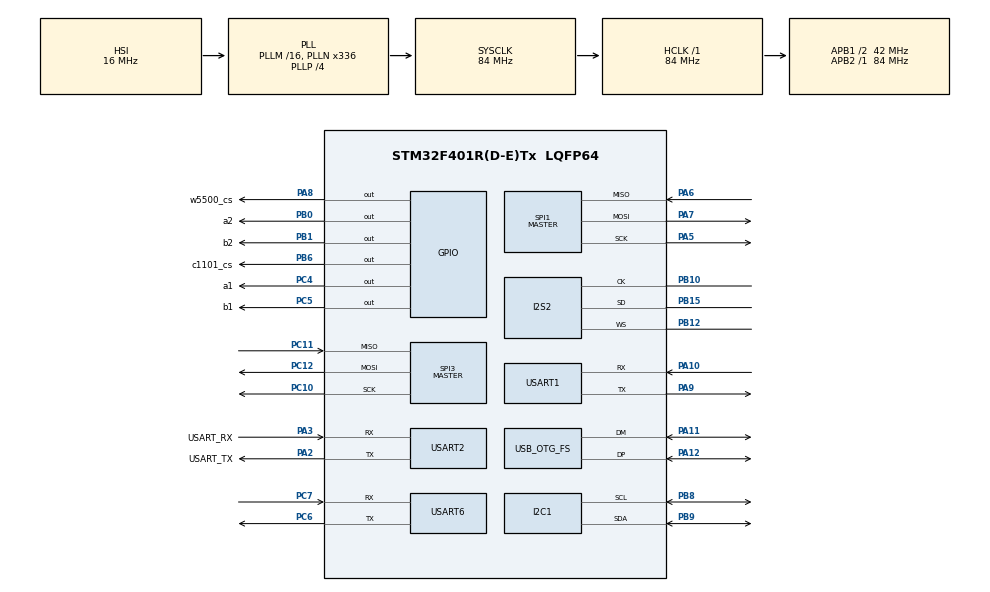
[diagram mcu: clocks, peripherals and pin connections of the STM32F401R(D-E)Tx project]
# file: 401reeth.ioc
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FREERTOS.Queues01=RadioPacketQueue,20,RadioPacket_t,0,Dynamic,NULL,NULL
FREERTOS.Tasks01=Task_MainEO,32,512,StartMainEOTask,Default,NULL,Dynamic,NULL,NULL;Task_CC1101,40,256,StartCC1101Task,Default,NULL,Dynamic,NULL,NULL;Task_PCComm,24,256,StartPCCommTask,Default,NULL,Dynamic,NULL,NULL
FREERTOS.configCHECK_FOR_STACK_OVERFLOW=2
FREERTOS.configTOTAL_HEAP_SIZE=16384
FREERTOS.configUSE_NEWLIB_REENTRANT=1
FREERTOS.configUSE_POSIX_ERRNO=0
I2S2.ErrorAudioFreq=0.0 %
I2S2.FullDuplexMode=I2S_FULLDUPLEXMODE_DISABLE
I2S2.Instance=SPI$Index
I2S2.RealAudioFreq=8.0 KHz
I2S2.VirtualMode=I2S_MODE_MASTER
Mcu.Family=STM32F4
Mcu.Name=STM32F401R(D-E)Tx
Mcu.Package=LQFP64
NVIC.OTG_FS_IRQn=true\:5\:0\:false\:false\:true\:true\:true\:true\:true
NVIC.PriorityGroup=NVIC_PRIORITYGROUP_4
NVIC.SPI1_IRQn=true\:5\:0\:false\:false\:true\:true\:true\:true\:true
NVIC.SPI3_IRQn=true\:5\:0\:false\:false\:true\:true\:true\:true\:true
NVIC.TIM5_IRQn=true\:15\:0\:false\:false\:true\:false\:false\:true\:true
NVIC.TimeBase=TIM5_IRQn
NVIC.TimeBaseIP=TIM5
NVIC.USART1_IRQn=true\:5\:0\:false\:false\:true\:true\:true\:true\:true
NVIC.USART2_IRQn=true\:5\:0\:false\:false\:true\:true\:true\:true\:true
PA10.Mode=Asynchronous
PA10.Signal=USART1_RX
PA11.Mode=Host_Only
PA11.Signal=USB_OTG_FS_DM
PA12.Mode=Host_Only
PA12.Signal=USB_OTG_FS_DP
PA13.GPIO_Label=TMS
PA13.Mode=Serial_Wire
PA13.Signal=SYS_JTMS-SWDIO
PA14.GPIO_Label=TCK
PA14.Mode=Serial_Wire
PA14.Signal=SYS_JTCK-SWCLK
PA2.GPIO_Label=USART_TX
PA2.GPIO_Mode=GPIO_MODE_AF_PP
PA2.GPIO_PuPd=GPIO_NOPULL
PA2.GPIO_Speed=GPIO_SPEED_FREQ_LOW
PA2.Mode=Asynchronous
PA2.Signal=USART2_TX
PA3.GPIO_Label=USART_RX
PA3.GPIO_Mode=GPIO_MODE_AF_PP
PA3.GPIO_PuPd=GPIO_NOPULL
PA3.GPIO_Speed=GPIO_SPEED_FREQ_LOW
PA3.Mode=Asynchronous
PA3.Signal=USART2_RX
PA5.Mode=Full_Duplex_Master
PA5.Signal=SPI1_SCK
PA6.Mode=Full_Duplex_Master
PA6.Signal=SPI1_MISO
PA7.Mode=Full_Duplex_Master
PA7.Signal=SPI1_MOSI
PA8.GPIO_Label=w5500_cs
PA8.Signal=GPIO_Output
PA9.Mode=Asynchronous
PA9.Signal=USART1_TX
PB0.GPIO_Label=a2
PB0.Signal=GPIO_Output
PB1.GPIO_Label=b2
PB1.Signal=GPIO_Output
PB10.Mode=Half_Duplex_Master
PB10.Signal=I2S2_CK
PB12.Mode=Half_Duplex_Master
PB12.Signal=I2S2_WS
PB15.Mode=Half_Duplex_Master
PB15.Signal=I2S2_SD
PB6.GPIO_Label=c1101_cs
PB6.Signal=GPIO_Output
PB8.Mode=I2C
PB8.Signal=I2C1_SCL
PB9.Mode=I2C
PB9.Signal=I2C1_SDA
PC10.Mode=Full_Duplex_Master
PC10.Signal=SPI3_SCK
PC11.Mode=Full_Duplex_Master
PC11.Signal=SPI3_MISO
PC12.Mode=Full_Duplex_Master
PC12.Signal=SPI3_MOSI
PC14-OSC32_IN.Mode=LSE-External-Oscillator
PC14-OSC32_IN.Signal=RCC_OSC32_IN
PC15-OSC32_OUT.Mode=LSE-External-Oscillator
PC15-OSC32_OUT.Signal=RCC_OSC32_OUT
PC4.GPIO_Label=a1
PC4.Signal=GPIO_Output
PC5.GPIO_Label=b1
PC5.Signal=GPIO_Output
PC6.Mode=Asynchronous
PC6.Signal=USART6_TX
PC7.Mode=Asynchronous
PC7.Signal=USART6_RX
ProjectManager.HeapSize=0x200
ProjectManager.StackSize=0x400
ProjectManager.TargetToolchain=STM32CubeIDE
RCC.48MHZClocksFreq_Value=48000000
RCC.AHBFreq_Value=84000000
RCC.APB1CLKDivider=RCC_HCLK_DIV2
RCC.APB1Freq_Value=42000000
RCC.APB1TimFreq_Value=84000000
RCC.APB2Freq_Value=84000000
RCC.APB2TimFreq_Value=84000000
RCC.CortexFreq_Value=84000000
RCC.HCLKFreq_Value=84000000
RCC.HSE_VALUE=8000000
RCC.HSI_VALUE=16000000
RCC.PLLM=16
RCC.PLLN=336
RCC.PLLP=RCC_PLLP_DIV4
RCC.PLLQ=7
RCC.SYSCLKFreq_VALUE=84000000
RCC.SYSCLKSource=RCC_SYSCLKSOURCE_PLLCLK
RCC.VCOOutputFreq_Value=336000000
SPI1.BaudRatePrescaler=SPI_BAUDRATEPRESCALER_64
SPI1.Direction=SPI_DIRECTION_2LINES
SPI1.Mode=SPI_MODE_MASTER
SPI1.VirtualType=VM_MASTER
SPI3.Direction=SPI_DIRECTION_2LINES
SPI3.Mode=SPI_MODE_MASTER
SPI3.VirtualType=VM_MASTER
USART1.VirtualMode=VM_ASYNC
USART2.VirtualMode=VM_ASYNC
USART6.VirtualMode=VM_ASYNC
USB_HOST.SW_VBUS_DRIVE_HID_FS=true
USB_HOST.USBH_HandleTypeDef-HID_FS=hUsbHostFS
USB_HOST.USBH_MAX_DATA_BUFFER-HID_FS=1024
USB_HOST.USBH_PROCESS_PRIO-HID_FS=osPriorityAboveNormal
USB_HOST.USBH_PROCESS_STACK_SIZE-HID_FS=1024
USB_HOST.VirtualModeFS=Hid
USB_OTG_FS.Sof_enable=ENABLE
USB_OTG_FS.VirtualMode=Host_Only
USB_OTG_FS.phy_itface=HCD_PHY_EMBEDDED
VP_FREERTOS_VS_CMSIS_V2.Mode=CMSIS_V2
VP_SYS_VS_tim5.Mode=TIM5
VP_USB_HOST_VS_USB_HOST_HID_FS.Mode=HID_FS
board=NUCLEO-F401RE

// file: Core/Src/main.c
/* USER CODE BEGIN Header */
/**
  ******************************************************************************
  * @file           : main.c
  * @brief          : Main program body
  ******************************************************************************
  * @attention
  *
  * Copyright (c) 2026 STMicroelectronics.
  * All rights reserved.
  *
  * This software is licensed under terms that can be found in the LICENSE file
  * in the root directory of this software component.
  * If no LICENSE file comes with this software, it is provided AS-IS.
  *
  ******************************************************************************
  */
/* USER CODE END Header */
#include "main.h"
#include "cmsis_os.h"
#include "usb_host.h"

/* USER CODE BEGIN Includes */
#include <stdio.h>
#include <string.h>
#include "w5500.h"
/* USER CODE END Includes */

/* USER CODE BEGIN PTD */

/* Per-device receive info (7 remote CC1101 nodes). */
typedef struct
{
  uint8_t id;          /* 22,33,44,55,66,77,88                  */
  const char *name;    /* human-readable device name            */
  uint8_t type;        /* device class: ACUSTICK/RADAR/JAMMER    */
} DeviceInfo_t;

/* Packet received from a remote device, to be passed via queue. */

// MAX_PAYLOAD_LEN must be defined before RadioPacket_t
#define MAX_PAYLOAD_LEN         61
typedef struct
{
  uint8_t payload[MAX_PAYLOAD_LEN];
  uint8_t len;
  int8_t rssi;
  uint8_t lqi;
} RadioPacket_t;

/* USER CODE END PTD */

/* USER CODE BEGIN PD */
// Maximum packet payload length the receiver can handle
#define DEVICE_ID               11u // This receiver's ID

// Packet Types (must match transmitter)
#define RADIO_PACKET_TYPE_TELEM 0x01u
#define RADIO_PACKET_TYPE_LOG   0x02u
#define RADIO_PACKET_TYPE_ACK   0x03u
#define RADIO_PACKET_TYPE_AUDIO 0x04u

#define MAX_PAYLOAD_LEN         61

// Remote CC1101 node IDs this hub listens for (acustick/radar/jammer).
#define DEVICE_COUNT            7
#define DEVICE_CONNECT_TIMEOUT_MS 8000u   // considered "connected" if traffic seen inside this window
#define DEVICE_TYPE_ACUSTICK    0
#define DEVICE_TYPE_RADAR       1
#define DEVICE_TYPE_JAMMER      2

// CC1101 Registers
#define CC1101_IOCFG0           0x02        // GDO0 output pin configuration
#define CC1101_FIFOTHR          0x03        // RX FIFO and TX FIFO thresholds
#define CC1101_PKTLEN           0x06        // Packet length
#define CC1101_PKTCTRL1         0x07        // Packet automation control
#define CC1101_PKTCTRL0         0x08        // Packet automation control
#define CC1101_ADDR             0x09        // Device address
#define CC1101_CHANNR           0x0A        // Channel number
#define CC1101_FSCTRL1          0x0B        // Frequency synthesizer control
#define CC1101_FREQ2            0x0D        // Frequency control word, high byte
#define CC1101_FREQ1            0x0E        // Frequency control word, middle byte
#define CC1101_FREQ0            0x0F        // Frequency control word, low byte
#define CC1101_MDMCFG4          0x10        // Modem configuration
#define CC1101_MDMCFG3          0x11        // Modem configuration
#define CC1101_MDMCFG2          0x12        // Modem configuration
#define CC1101_MDMCFG1          0x13        // Modem configuration
#define CC1101_MDMCFG0          0x14        // Modem configuration
#define CC1101_DEVIATN          0x15        // Modem deviation setting
#define CC1101_MCSM1            0x17        // Main Radio Cntrl State Machine config
#define CC1101_MCSM0            0x18        // Main Radio Cntrl State Machine config
#define CC1101_FOCCFG           0x19        // Frequency Offset Compensation config
#define CC1101_BSCFG            0x1A        // Bit Synchronization configuration
#define CC1101_AGCCTRL2         0x1B        // AGC control
#define CC1101_AGCCTRL1         0x1C        // AGC control
#define CC1101_AGCCTRL0         0x1D        // AGC control
#define CC1101_FREND1           0x21        // Front end RX configuration
#define CC1101_FREND0           0x22        // Front end TX configuration
#define CC1101_FSCAL3           0x23        // Frequency synthesizer calibration
#define CC1101_FSCAL2           0x24        // Frequency synthesizer calibration
#define CC1101_FSCAL1           0x25        // Frequency synthesizer calibration
#define CC1101_FSCAL0           0x26        // Frequency synthesizer calibration
#define CC1101_TEST2            0x2C        // Various test settings
#define CC1101_TEST1            0x2D        // Various test settings
#define CC1101_TEST0            0x2E        // Various test settings

// Command Strobes
#define CC1101_SRES             0x30        // Reset chip.
#define CC1101_SRX              0x34        // Enable RX.
#define CC1101_STX              0x35        // Enable TX.
#define CC1101_SIDLE            0x36        // Exit RX / TX.
#define CC1101_SFRX             0x3A        // Flush the RX FIFO buffer.
#define CC1101_SFTX             0x3B        // Flush the TX FIFO buffer.
#define CC1101_SNOP             0x3D        // No operation.

// Status Registers
#define CC1101_PARTNUM          0x30        // Part number
#define CC1101_VERSION          0x31        // Current version number
#define CC1101_MARCSTATE        0x35        // Main Radio Control FSM state
#define CC1101_RXBYTES          0x3B        // Underflow and number of bytes

// FIFO Access & Header bits
#define CC1101_RXFIFO           0x3F
#define CC1101_TXFIFO           0x3F
#define CC1101_WRITE_BURST      0x40
#define CC1101_READ_SINGLE      0x80
#define CC1101_READ_BURST       0xC0
/* USER CODE END PD */

I2C_HandleTypeDef hi2c1;

I2S_HandleTypeDef hi2s2;

SPI_HandleTypeDef hspi1;
SPI_HandleTypeDef hspi3;

UART_HandleTypeDef huart1;
UART_HandleTypeDef huart2;
UART_HandleTypeDef huart6;

/* Definitions for Task_MainEO */
osThreadId_t Task_MainEOHandle;
const osThreadAttr_t Task_MainEO_attributes = {
  .name = "Task_MainEO",
  .stack_size = 512 * 4,
  .priority = (osPriority_t) osPriorityAboveNormal,
};
/* Definitions for Task_CC1101 */
osThreadId_t Task_CC1101Handle;
const osThreadAttr_t Task_CC1101_attributes = {
  .name = "Task_CC1101",
  .stack_size = 256 * 4,
  .priority = (osPriority_t) osPriorityHigh,
};
/* Definitions for Task_PCComm */
osThreadId_t Task_PCCommHandle;
const osThreadAttr_t Task_PCComm_attributes = {
  .name = "Task_PCComm",
  .stack_size = 256 * 4,
  .priority = (osPriority_t) osPriorityNormal,
};
/* Definitions for RadioPacketQueue */
osMessageQueueId_t RadioPacketQueueHandle;
const osMessageQueueAttr_t RadioPacketQueue_attributes = {
  .name = "RadioPacketQueue"
};
/* USER CODE BEGIN PV */

/* Definitions for DeviceDataMutex */
osMutexId_t DeviceDataMutexHandle;
const osMutexAttr_t DeviceDataMutex_attributes = {
  .name = "DeviceDataMutex"
};

/* Static table of the 7 remote devices (index 0..6). */
static const DeviceInfo_t g_dev[DEVICE_COUNT] =
{
  { 22, "ACUSTICK1", DEVICE_TYPE_ACUSTICK },
  { 33, "ACUSTICK2", DEVICE_TYPE_ACUSTICK },
  { 44, "ACUSTICK3", DEVICE_TYPE_ACUSTICK },
  { 55, "RADAR1",    DEVICE_TYPE_RADAR    },
  { 66, "RADAR2",    DEVICE_TYPE_RADAR    },
  { 77, "RADAR3",    DEVICE_TYPE_RADAR    },
  { 88, "JAMMER",    DEVICE_TYPE_JAMMER   },
};

/* Latest valid payload + connection state per device. */
static uint8_t   g_dev_present[DEVICE_COUNT];
static uint8_t   g_dev_len[DEVICE_COUNT];
static uint8_t   g_dev_payload[DEVICE_COUNT][MAX_PAYLOAD_LEN];
static uint8_t   g_dev_type[DEVICE_COUNT];
static uint8_t   g_dev_seq[DEVICE_COUNT];
static uint32_t  g_dev_last_tick[DEVICE_COUNT];

/* USART2 RX line accumulator for PC commands. */
static uint8_t   g_cmd_line[16];
static uint8_t   g_cmd_n = 0;

/* USER CODE END PV */

void SystemClock_Config(void);
static void MX_GPIO_Init(void);
static void MX_USART2_UART_Init(void);
static void MX_SPI1_Init(void);
static void MX_USART1_UART_Init(void);
static void MX_I2C1_Init(void);
static void MX_I2S2_Init(void);
static void MX_SPI3_Init(void);
static void MX_USART6_UART_Init(void);
void StartMainEOTask(void *argument);
void StartCC1101Task(void *argument);
void StartPCCommTask(void *argument);

/* USER CODE BEGIN PFP */
void cc1101_init(void);
uint8_t cc1101_read_reg(uint8_t addr);
void cc1101_send_packet(const uint8_t *data, uint8_t len);
void cc1101_command_strobe(uint8_t cmd);
void cc1101_read_burst(uint8_t addr, uint8_t *buffer, uint8_t count);
int8_t  Device_IndexOf(uint8_t src_id);
void    Device_Store(uint8_t src_id, const uint8_t *payload, uint8_t len);
void    Uart_CheckCommand(void);
/* USER CODE END PFP */

/* USER CODE BEGIN 0 */
void cc1101_select() {
    HAL_GPIO_WritePin(c1101_cs_GPIO_Port, c1101_cs_Pin, GPIO_PIN_RESET);
}

void cc1101_deselect() {
    HAL_GPIO_WritePin(c1101_cs_GPIO_Port, c1101_cs_Pin, GPIO_PIN_SET);
}

void cc1101_write_reg(uint8_t addr, uint8_t data) {
    uint8_t tx_data[2] = {addr, data};
    cc1101_select();
    HAL_SPI_Transmit(&hspi1, tx_data, 2, 100);
    cc1101_deselect();
}

uint8_t cc1101_read_reg(uint8_t addr) {
    uint8_t tx_data[2] = {addr | CC1101_READ_SINGLE, 0x00}; // Address header, then dummy byte for clocking
    uint8_t rx_data[2] = {0};
    cc1101_select();
    // The first received byte is the status byte, the second is the register value
    HAL_SPI_TransmitReceive(&hspi1, tx_data, rx_data, 2, 100);
    cc1101_deselect();
    return rx_data[1]; // Return the register value
}

void cc1101_read_burst(uint8_t addr, uint8_t *buffer, uint8_t count) {
    uint8_t tx_addr = addr | CC1101_READ_BURST;
    cc1101_select();
    HAL_SPI_Transmit(&hspi1, &tx_addr, 1, 100);
    HAL_SPI_Receive(&hspi1, buffer, count, 100);
    cc1101_deselect();
}

void cc1101_write_burst(uint8_t addr, const uint8_t *buffer, uint8_t count) {
    uint8_t tx_addr = addr | CC1101_WRITE_BURST;
    cc1101_select();
    HAL_SPI_Transmit(&hspi1, &tx_addr, 1, 100);
    HAL_SPI_Transmit(&hspi1, (uint8_t*)buffer, count, 100);
    cc1101_deselect();
}

void cc1101_command_strobe(uint8_t cmd) {
    cc1101_select();
    HAL_SPI_Transmit(&hspi1, &cmd, 1, 100);
    cc1101_deselect();
}

void cc1101_reset() {
    cc1101_deselect();
    HAL_Delay(1);
    cc1101_select();
    HAL_Delay(1);
    cc1101_deselect();
    HAL_Delay(1);
    cc1101_command_strobe(CC1101_SRES);
    HAL_Delay(1);
}

void cc1101_send_packet(const uint8_t *data, uint8_t len) {
    if (len == 0 || len > MAX_PAYLOAD_LEN) {
        return;
    }

    uint8_t fifo_data[MAX_PAYLOAD_LEN + 1];
    fifo_data[0] = len;
    memcpy(&fifo_data[1], data, len);

    cc1101_command_strobe(CC1101_SIDLE);
    cc1101_command_strobe(CC1101_SFTX);
    cc1101_write_burst(CC1101_TXFIFO, fifo_data, len + 1);
    cc1101_command_strobe(CC1101_STX);

    // Wait for transmission to complete. MARCSTATE will be 0x01 (IDLE)
    // Add a timeout to prevent lockup in case of a hardware issue.
    uint32_t start_tick = HAL_GetTick();
    while (cc1101_read_reg(CC1101_MARCSTATE) != 0x01) {
        if (HAL_GetTick() - start_tick > 50) { break; } // 50ms timeout
    }
}
// A basic configuration for the CC1101 for 433MHz.
// This should be adapted for the specific application (frequency, data rate, etc.)
void cc1101_init() {
    cc1101_reset();

    // NOTE: The comments below were incorrect. The register values configure the radio
    // for ~153.5 kBaud, not 1.2 kBaud. The settings match the transmitter.
    static const uint8_t pa_table[] = { 0xC0 }; // approx. 10 dBm
    cc1101_write_reg(CC1101_FSCTRL1,  0x06); // IF Freq: 152.34375 kHz
    cc1101_write_reg(CC1101_FREQ2,    0x10); // Freq. Control Word, High Byte
    cc1101_write_reg(CC1101_FREQ1,    0xB0); // Freq. Control Word, Middle Byte
    cc1101_write_reg(CC1101_FREQ0,    0x71); // Freq. Control Word, Low Byte
    cc1101_write_reg(CC1101_MDMCFG4,  0xCA); // RX BW: 101.5625 kHz, Data Rate Exponent
    cc1101_write_reg(CC1101_MDMCFG3,  0x83); // Data Rate Mantissa (~153.5 kBaud)
    cc1101_write_reg(CC1101_MDMCFG2,  0x13); // GFSK, 30/32 sync word bits
    cc1101_write_reg(CC1101_MDMCFG1,  0x22); // 4-byte preamble, FEC disabled
    cc1101_write_reg(CC1101_MDMCFG0,  0xF8); // Channel spacing: 199.951172 kHz
    cc1101_write_reg(CC1101_CHANNR,   0x00); // Channel 0
    cc1101_write_reg(CC1101_DEVIATN,  0x35); // Deviation: 19.042969 kHz
    cc1101_write_reg(CC1101_FREND1,   0x56); // Front end RX configuration
    cc1101_write_reg(CC1101_FREND0,   0x10); // Front end TX configuration
    cc1101_write_reg(CC1101_MCSM0,    0x18); // Auto-calibrate on IDLE->RX/TX
    cc1101_write_reg(CC1101_FOCCFG,   0x16); // Freq Offset Comp. config
    cc1101_write_reg(CC1101_BSCFG,    0x6C); // Bit Synchronization config
    cc1101_write_reg(CC1101_AGCCTRL2, 0x43); // AGC Control
    cc1101_write_reg(CC1101_AGCCTRL1, 0x40); // AGC Control
    cc1101_write_reg(CC1101_AGCCTRL0, 0x91); // AGC Control
    cc1101_write_reg(CC1101_FSCAL3,   0xE9); // Freq. Synthesizer Cal.
    cc1101_write_reg(CC1101_FSCAL2,   0x2A); // Freq. Synthesizer Cal.
    cc1101_write_reg(CC1101_FSCAL1,   0x00); // Freq. Synthesizer Cal.
    cc1101_write_reg(CC1101_FSCAL0,   0x1F); // Freq. Synthesizer Cal.
    cc1101_write_reg(CC1101_TEST2,    0x81); // Required for sensitivity at low data rates
    cc1101_write_reg(CC1101_TEST1,    0x35); // Required for sensitivity at low data rates
    cc1101_write_reg(CC1101_TEST0,    0x09); // Required for sensitivity at low data rates
    cc1101_write_reg(CC1101_PKTCTRL1, 0x04); // No address check, CRC autoflush on
    cc1101_write_reg(CC1101_PKTCTRL0, 0x05); // Variable packet length, CRC enabled
    cc1101_write_reg(CC1101_ADDR,     0x00); // Device address (not used, PKTCTRL1)
    cc1101_write_reg(CC1101_PKTLEN,   0xFF); // Max packet length

    cc1101_write_burst(0x3E, pa_table, sizeof(pa_table)); // Write PATABLE for TX power
}
/* USER CODE END 0 */

int main(void)
{

  /* MCU Configuration--------------------------------------------------------*/

  /* Reset of all peripherals, Initializes the Flash interface and the Systick. */
  HAL_Init();

  /* Configure the system clock */
  SystemClock_Config();

  /* Initialize all configured peripherals */
  MX_GPIO_Init();
  MX_USART2_UART_Init();
  MX_SPI1_Init();
  MX_USART1_UART_Init();
  MX_I2C1_Init();
  MX_I2S2_Init();
  MX_SPI3_Init();
  MX_USART6_UART_Init();
  /* USER CODE BEGIN 2 */
  cc1101_init();

  // Check if CC1101 is present by reading its version register
  uint8_t version = cc1101_read_reg(CC1101_VERSION);
  char startup_msg[64];
  if (version == 0x14 || version == 0x11 || version == 0x0f) { // 0x14 is common, 0x11/0x0f might be clones/other versions
      int len = snprintf(startup_msg, sizeof(startup_msg), "CC1101 Detected. Version: 0x%02X\r\n", version);
      HAL_UART_Transmit(&huart2, (uint8_t*)startup_msg, len, 100);
  } else {
      int len = snprintf(startup_msg, sizeof(startup_msg), "CC1101 Not Found. Version read: 0x%02X\r\n", version);
      HAL_UART_Transmit(&huart2, (uint8_t*)startup_msg, len, 100);
  }

  W5500_SetSpiBus(W5500_SPI_BUS_3); // Main operation default: W5500 on SPI3, CS PC8
  W5500_Init(); // Initialize the W5500 chip
  if (W5500_TestConnection())
  {
      int len = snprintf(startup_msg, sizeof(startup_msg), "W5500 OK %s CS=PC8 VERSIONR=0x04\r\n", W5500_GetSpiBusName());
      HAL_UART_Transmit(&huart2, (uint8_t*)startup_msg, len, 100);
  }
  else
  {
      uint8_t w5500_version = W5500_ReadByte(0x0039);
      int len = snprintf(startup_msg, sizeof(startup_msg), "W5500 FAIL %s CS=PC8 VERSIONR=0x%02X\r\n", W5500_GetSpiBusName(), w5500_version);
      HAL_UART_Transmit(&huart2, (uint8_t*)startup_msg, len, 100);
  }
  cc1101_command_strobe(CC1101_SRX); // Enter RX mode

  /* USER CODE END 2 */

  /* Init scheduler */
  osKernelInitialize();

  /* USER CODE BEGIN RTOS_MUTEX */
  /* add mutexes, ... */
  /* creation of DeviceDataMutex */
  DeviceDataMutexHandle = osMutexNew(&DeviceDataMutex_attributes);
  /* USER CODE END RTOS_MUTEX */

  /* Create the queue(s) */
  /* creation of RadioPacketQueue */
  RadioPacketQueueHandle = osMessageQueueNew (20, sizeof(RadioPacket_t), &RadioPacketQueue_attributes);

  /* Create the thread(s) */
  /* creation of Task_MainEO */
  Task_MainEOHandle = osThreadNew(StartMainEOTask, NULL, &Task_MainEO_attributes);

  /* creation of Task_CC1101 */
  Task_CC1101Handle = osThreadNew(StartCC1101Task, NULL, &Task_CC1101_attributes);

  /* creation of Task_PCComm */
  Task_PCCommHandle = osThreadNew(StartPCCommTask, NULL, &Task_PCComm_attributes);

  /* Start scheduler */
  osKernelStart();

  /* We should never get here as control is now taken by the scheduler */

  /* Infinite loop */
  /* USER CODE BEGIN WHILE */
  while (1) // This loop should not be reached
  {
    /* USER CODE END WHILE */

  }
}

void SystemClock_Config(void)
{
  RCC_OscInitTypeDef RCC_OscInitStruct = {0};
  RCC_ClkInitTypeDef RCC_ClkInitStruct = {0};

  /** Configure the main internal regulator output voltage
  */
  __HAL_RCC_PWR_CLK_ENABLE();
  __HAL_PWR_VOLTAGESCALING_CONFIG(PWR_REGULATOR_VOLTAGE_SCALE2);

  /** Initializes the RCC Oscillators according to the specified parameters
  * in the RCC_OscInitTypeDef structure.
  */
  RCC_OscInitStruct.OscillatorType = RCC_OSCILLATORTYPE_HSI;
  RCC_OscInitStruct.HSIState = RCC_HSI_ON;
  RCC_OscInitStruct.HSICalibrationValue = RCC_HSICALIBRATION_DEFAULT;
  RCC_OscInitStruct.PLL.PLLState = RCC_PLL_ON;
  RCC_OscInitStruct.PLL.PLLSource = RCC_PLLSOURCE_HSI;
  RCC_OscInitStruct.PLL.PLLM = 16;
  RCC_OscInitStruct.PLL.PLLN = 336;
  RCC_OscInitStruct.PLL.PLLP = RCC_PLLP_DIV4;
  RCC_OscInitStruct.PLL.PLLQ = 7;
  if (HAL_RCC_OscConfig(&RCC_OscInitStruct) != HAL_OK)
  {
    Error_Handler();
  }

  /** Initializes the CPU, AHB and APB buses clocks
  */
  RCC_ClkInitStruct.ClockType = RCC_CLOCKTYPE_HCLK|RCC_CLOCKTYPE_SYSCLK
                              |RCC_CLOCKTYPE_PCLK1|RCC_CLOCKTYPE_PCLK2;
  RCC_ClkInitStruct.SYSCLKSource = RCC_SYSCLKSOURCE_PLLCLK;
  RCC_ClkInitStruct.AHBCLKDivider = RCC_SYSCLK_DIV1;
  RCC_ClkInitStruct.APB1CLKDivider = RCC_HCLK_DIV2;
  RCC_ClkInitStruct.APB2CLKDivider = RCC_HCLK_DIV1;

  if (HAL_RCC_ClockConfig(&RCC_ClkInitStruct, FLASH_LATENCY_2) != HAL_OK)
  {
    Error_Handler();
  }
}

static void MX_I2C1_Init(void)
{

  hi2c1.Instance = I2C1;
  hi2c1.Init.ClockSpeed = 100000;
  hi2c1.Init.DutyCycle = I2C_DUTYCYCLE_2;
  hi2c1.Init.OwnAddress1 = 0;
  hi2c1.Init.AddressingMode = I2C_ADDRESSINGMODE_7BIT;
  hi2c1.Init.DualAddressMode = I2C_DUALADDRESS_DISABLE;
  hi2c1.Init.OwnAddress2 = 0;
  hi2c1.Init.GeneralCallMode = I2C_GENERALCALL_DISABLE;
  hi2c1.Init.NoStretchMode = I2C_NOSTRETCH_DISABLE;
  if (HAL_I2C_Init(&hi2c1) != HAL_OK)
  {
    Error_Handler();
  }

}

static void MX_I2S2_Init(void)
{

  /* USER CODE BEGIN I2S2_Init 1 */
  // For MEMS microphone, I2S should be in Master RX mode
  /* USER CODE END I2S2_Init 1 */
  hi2s2.Instance = SPI2;
  hi2s2.Init.Mode = I2S_MODE_MASTER_TX;
  hi2s2.Init.Standard = I2S_STANDARD_PHILIPS;
  hi2s2.Init.DataFormat = I2S_DATAFORMAT_16B;
  hi2s2.Init.MCLKOutput = I2S_MCLKOUTPUT_DISABLE;
  hi2s2.Init.AudioFreq = I2S_AUDIOFREQ_8K;
  hi2s2.Init.CPOL = I2S_CPOL_LOW;
  hi2s2.Init.ClockSource = I2S_CLOCK_PLL;
  hi2s2.Init.FullDuplexMode = I2S_FULLDUPLEXMODE_DISABLE;
  if (HAL_I2S_Init(&hi2s2) != HAL_OK)
  {
    Error_Handler();
  }

}

static void MX_SPI1_Init(void)
{

  /* SPI1 parameter configuration*/
  hspi1.Instance = SPI1;
  hspi1.Init.Mode = SPI_MODE_MASTER;
  hspi1.Init.Direction = SPI_DIRECTION_2LINES;
  hspi1.Init.DataSize = SPI_DATASIZE_8BIT;
  hspi1.Init.CLKPolarity = SPI_POLARITY_LOW;
  hspi1.Init.CLKPhase = SPI_PHASE_1EDGE;
  hspi1.Init.NSS = SPI_NSS_SOFT;
  hspi1.Init.BaudRatePrescaler = SPI_BAUDRATEPRESCALER_64;
  hspi1.Init.FirstBit = SPI_FIRSTBIT_MSB;
  hspi1.Init.TIMode = SPI_TIMODE_DISABLE;
  hspi1.Init.CRCCalculation = SPI_CRCCALCULATION_DISABLE;
  hspi1.Init.CRCPolynomial = 10;
  if (HAL_SPI_Init(&hspi1) != HAL_OK)
  {
    Error_Handler();
  }

}

static void MX_SPI3_Init(void)
{

  /* SPI3 parameter configuration*/
  hspi3.Instance = SPI3;
  hspi3.Init.Mode = SPI_MODE_MASTER;
  hspi3.Init.Direction = SPI_DIRECTION_2LINES;
  hspi3.Init.DataSize = SPI_DATASIZE_8BIT;
  hspi3.Init.CLKPolarity = SPI_POLARITY_LOW;
  hspi3.Init.CLKPhase = SPI_PHASE_1EDGE;
  hspi3.Init.NSS = SPI_NSS_SOFT;
  hspi3.Init.BaudRatePrescaler = SPI_BAUDRATEPRESCALER_64;
  hspi3.Init.FirstBit = SPI_FIRSTBIT_MSB;
  hspi3.Init.TIMode = SPI_TIMODE_DISABLE;
  hspi3.Init.CRCCalculation = SPI_CRCCALCULATION_DISABLE;
  hspi3.Init.CRCPolynomial = 10;
  if (HAL_SPI_Init(&hspi3) != HAL_OK)
  {
    Error_Handler();
  }

}

static void MX_USART1_UART_Init(void)
{

  huart1.Instance = USART1;
  huart1.Init.BaudRate = 115200;
  huart1.Init.WordLength = UART_WORDLENGTH_8B;
  huart1.Init.StopBits = UART_STOPBITS_1;
  huart1.Init.Parity = UART_PARITY_NONE;
  huart1.Init.Mode = UART_MODE_TX_RX;
  huart1.Init.HwFlowCtl = UART_HWCONTROL_NONE;
  huart1.Init.OverSampling = UART_OVERSAMPLING_16;
  if (HAL_UART_Init(&huart1) != HAL_OK)
  {
    Error_Handler();
  }

}

static void MX_USART2_UART_Init(void)
{

  huart2.Instance = USART2;
  huart2.Init.BaudRate = 115200;
  huart2.Init.WordLength = UART_WORDLENGTH_8B;
  huart2.Init.StopBits = UART_STOPBITS_1;
  huart2.Init.Parity = UART_PARITY_NONE;
  huart2.Init.Mode = UART_MODE_TX_RX;
  huart2.Init.HwFlowCtl = UART_HWCONTROL_NONE;
  huart2.Init.OverSampling = UART_OVERSAMPLING_16;
  if (HAL_UART_Init(&huart2) != HAL_OK)
  {
    Error_Handler();
  }

}

static void MX_USART6_UART_Init(void)
{

  huart6.Instance = USART6;
  huart6.Init.BaudRate = 115200;
  huart6.Init.WordLength = UART_WORDLENGTH_8B;
  huart6.Init.StopBits = UART_STOPBITS_1;
  huart6.Init.Parity = UART_PARITY_NONE;
  huart6.Init.Mode = UART_MODE_TX_RX;
  huart6.Init.HwFlowCtl = UART_HWCONTROL_NONE;
  huart6.Init.OverSampling = UART_OVERSAMPLING_16;
  if (HAL_UART_Init(&huart6) != HAL_OK)
  {
    Error_Handler();
  }

}

static void MX_GPIO_Init(void)
{
  GPIO_InitTypeDef GPIO_InitStruct = {0};

  /* GPIO Ports Clock Enable */
  __HAL_RCC_GPIOC_CLK_ENABLE();
  __HAL_RCC_GPIOH_CLK_ENABLE();
  __HAL_RCC_GPIOA_CLK_ENABLE();
  __HAL_RCC_GPIOB_CLK_ENABLE();

  /*Configure GPIO pin Output Level */
  HAL_GPIO_WritePin(GPIOC, a1_Pin|b1_Pin, GPIO_PIN_RESET);

  /*Configure GPIO pin Output Level */
  HAL_GPIO_WritePin(GPIOB, a2_Pin|b2_Pin|c1101_cs_Pin, GPIO_PIN_RESET);

  /*Configure GPIO pin Output Level */
  HAL_GPIO_WritePin(w5500_cs_GPIO_Port, w5500_cs_Pin, GPIO_PIN_SET);

  /*Configure GPIO pins : a1_Pin b1_Pin */
  GPIO_InitStruct.Pin = a1_Pin|b1_Pin;
  GPIO_InitStruct.Mode = GPIO_MODE_OUTPUT_PP;
  GPIO_InitStruct.Pull = GPIO_NOPULL;
  GPIO_InitStruct.Speed = GPIO_SPEED_FREQ_LOW;
  HAL_GPIO_Init(GPIOC, &GPIO_InitStruct);

  /*Configure GPIO pins : a2_Pin b2_Pin c1101_cs_Pin */
  GPIO_InitStruct.Pin = a2_Pin|b2_Pin|c1101_cs_Pin;
  GPIO_InitStruct.Mode = GPIO_MODE_OUTPUT_PP;
  GPIO_InitStruct.Pull = GPIO_NOPULL;
  GPIO_InitStruct.Speed = GPIO_SPEED_FREQ_LOW;
  HAL_GPIO_Init(GPIOB, &GPIO_InitStruct);

  /*Configure GPIO pin : w5500_cs_Pin */
  GPIO_InitStruct.Pin = w5500_cs_Pin;
  GPIO_InitStruct.Mode = GPIO_MODE_OUTPUT_PP;
  GPIO_InitStruct.Pull = GPIO_NOPULL;
  GPIO_InitStruct.Speed = GPIO_SPEED_FREQ_LOW;
  HAL_GPIO_Init(w5500_cs_GPIO_Port, &GPIO_InitStruct);

}

/* USER CODE BEGIN 4 */

/* ============ Helper: find table index for a source ID, or -1 ============ */
int8_t Device_IndexOf(uint8_t src_id)
{
  uint8_t i;
  for (i = 0; i < DEVICE_COUNT; i++)
  {
    if (g_dev[i].id == src_id) { return (int8_t)i; }
  }
  return -1;
}

/* ============ Store the newest valid frame from a known device ============ */
void Device_Store(uint8_t src_id, const uint8_t *payload, uint8_t len)
{
  int8_t idx = Device_IndexOf(src_id);
  if (idx < 0 || len < 4 || len > MAX_PAYLOAD_LEN) { return; }

  osMutexAcquire(DeviceDataMutexHandle, osWaitForever);

  g_dev_present[idx]    = 1;
  g_dev_len[idx]        = len;
  g_dev_type[idx]       = payload[2];   /* packet type */
  g_dev_seq[idx]        = payload[3];   /* sequence    */
  memcpy(g_dev_payload[idx], payload, len);
  g_dev_last_tick[idx]  = HAL_GetTick();

  osMutexRelease(DeviceDataMutexHandle);
}

/*
 * To fully integrate a MEMS microphone, you would typically:
 * 1. Include ST's PDM-to-PCM conversion library (e.g., from X-CUBE-MEMSMIC1).
 * 2. Define a buffer to store raw PDM data received via DMA.
 * 3. Define a buffer for the converted PCM data.
 * 4. Start the I2S DMA transfer in circular mode:
 *    HAL_I2S_Receive_DMA(&hi2s2, (uint16_t*)pdm_buffer, PDM_BUFFER_SIZE_IN_HALFWORDS);
 * 5. In the DMA Half-Transfer Complete and Full-Transfer Complete callbacks:
 *    - Call the PDM_Filter function to convert PDM to PCM.
 *    - Process the PCM data (e.g., send it over Ethernet, analyze it).
 *    - Ensure proper buffer management to avoid data loss.
 */

static uint8_t Device_Connected(uint8_t idx)
{
  if (idx >= DEVICE_COUNT || !g_dev_present[idx]) { return 0u; }
  return ((uint32_t)(HAL_GetTick() - g_dev_last_tick[idx]) < DEVICE_CONNECT_TIMEOUT_MS) ? 1u : 0u;
}

/* ============ Dump one device's latest scan to the PC (USART2) ============ */
static void Device_SendLatest(uint8_t idx)
{
  char line[256];
  int  o = 0;
  uint8_t i;

  if (idx >= DEVICE_COUNT) { return; }

  osMutexAcquire(DeviceDataMutexHandle, osWaitForever);

  if (!g_dev_present[idx])
  {
    o += snprintf(line + o, (size_t)(sizeof(line) - o),
                  "DEV %u %s NOT-SEEN\r\n", (unsigned)g_dev[idx].id, g_dev[idx].name);
    HAL_UART_Transmit(&huart2, (uint8_t *)line, (uint16_t)o, 200);
    return;
  }

  o += snprintf(line + o, (size_t)(sizeof(line) - o),
                "DEV %u %s %s AGE=%lums T=%02X S=%u HEX=",
                (unsigned)g_dev[idx].id, g_dev[idx].name,
                Device_Connected(idx) ? "CONNECTED" : "TIMEOUT",
                (unsigned long)(HAL_GetTick() - g_dev_last_tick[idx]),
                g_dev_type[idx], (unsigned)g_dev_seq[idx]);
  for (i = 0; i < g_dev_len[idx]; i++)
  {
    o += snprintf(line + o, (size_t)(sizeof(line) - o), "%02X ", g_dev_payload[idx][i]);
  }
  o += snprintf(line + o, (size_t)(sizeof(line) - o), "\r\n");
  HAL_UART_Transmit(&huart2, (uint8_t *)line, (uint16_t)o, 200);

  osMutexRelease(DeviceDataMutexHandle);
}

static void Device_SendAll(void)
{
  uint8_t i;
  for (i = 0; i < DEVICE_COUNT; i++) { Device_SendLatest(i); }
}

static void Uart_SendString(const char *s)
{
  HAL_UART_Transmit(&huart2, (uint8_t *)s, (uint16_t)strlen(s), 200);
}

static void W5500_SendTestResult(void)
{
  char resp[80];
  uint8_t version = W5500_ReadByte(0x0039);
  int len = snprintf(resp, sizeof(resp), "W5500 %s CS=PC8 VERSIONR=0x%02X %s\r\n",
                     W5500_GetSpiBusName(), version,
                     (version == 0x04u) ? "OK" : "FAIL");
  HAL_UART_Transmit(&huart2, (uint8_t *)resp, (uint16_t)len, 200);
}

/* ============ Poll USART2 for a PC command and act on it ============
   Lines are terminated by CR or LF.
     LIST            -> list device ids + connection status
     GETALL (or GET) -> dump the latest scan of every device
     GET<2-digit id> -> dump the latest scan of that device  (e.g. GET55)
*/
void Uart_CheckCommand(void)
{
  uint8_t c;
  uint32_t now = HAL_GetTick();
  static uint32_t last_char = 0;

  while (HAL_UART_Receive(&huart2, &c, 1, 0) == HAL_OK)
  {
    if (c == '\r' || c == '\n')
    {
      if (g_cmd_n > 0)
      {
        g_cmd_line[g_cmd_n] = 0;                    /* NUL terminate */
        g_cmd_n = g_cmd_n > (sizeof(g_cmd_line) - 1) ? (uint8_t)(sizeof(g_cmd_line) - 1) : g_cmd_n;

        if (strncmp((char *)g_cmd_line, "LIST", 4) == 0)
        {
          uint8_t i;
          for (i = 0; i < DEVICE_COUNT; i++)
          {
            char resp[96]; int r = 0;
            r += snprintf(resp + r, (size_t)(sizeof(resp) - r),
                          "DEV %u %s %s\r\n",
                          (unsigned)g_dev[i].id, g_dev[i].name,
                          Device_Connected(i) ? "CONNECTED" : "NOT-SEEN");
            HAL_UART_Transmit(&huart2, (uint8_t *)resp, (uint16_t)r, 200);
          }
        }
        else if (strncmp((char *)g_cmd_line, "GETALL", 6) == 0)
        {
          Device_SendAll();
        }
        else if (strncmp((char *)g_cmd_line, "W5500SPI1", 9) == 0)
        {
          W5500_SetSpiBus(W5500_SPI_BUS_1);
          W5500_SendTestResult();
        }
        else if (strncmp((char *)g_cmd_line, "W5500SPI3", 9) == 0)
        {
          W5500_SetSpiBus(W5500_SPI_BUS_3);
          W5500_SendTestResult();
        }
        else if (strncmp((char *)g_cmd_line, "W5500TEST", 9) == 0)
        {
          W5500_SendTestResult();
        }
        else if (strncmp((char *)g_cmd_line, "GET", 3) == 0 && g_cmd_n == 5)
        {
          uint8_t id = (uint8_t)((g_cmd_line[3] - '0') * 10u + (g_cmd_line[4] - '0'));
          int8_t idx = Device_IndexOf(id);
          if (idx >= 0) { Device_SendLatest((uint8_t)idx); }
          else          { Uart_SendString("CMD: unknown device\r\n"); }
        }
        else
        {
          Uart_SendString("CMD: LIST | GETALL | GET<id> | W5500SPI1 | W5500SPI3 | W5500TEST\r\n");
        }
        g_cmd_n = 0;
      }
      last_char = now;
    }
    else if (g_cmd_n < sizeof(g_cmd_line) - 1)
    {
      g_cmd_line[g_cmd_n++] = c;
      last_char = now;
    }
  }

  /* Drop a partial (incomplete) command line after a short idle gap. */
  if (g_cmd_n > 0 && (now - last_char) > 50u) { g_cmd_n = 0; }
}

/* USER CODE END 4 */

void StartMainEOTask(void *argument)
{
  /* init code for USB_HOST */
  MX_USB_HOST_Init();
  /* USER CODE BEGIN 5 */
  /* Infinite loop */
  for(;;)
  {
    osDelay(1000);
  }
  /* USER CODE END 5 */
}

void StartCC1101Task(void *argument)
{
  /* USER CODE BEGIN StartCC1101Task */
  /* Infinite loop */
  for(;;) {
    uint8_t rx_bytes_reg = cc1101_read_reg(CC1101_RXBYTES);

    // Check for RX FIFO overflow
    if (rx_bytes_reg & 0x80) {
        cc1101_command_strobe(CC1101_SIDLE);
        cc1101_command_strobe(CC1101_SFRX);
        cc1101_command_strobe(CC1101_SRX);
    }
    // Check if there are any bytes in the RX FIFO
    else if (rx_bytes_reg & 0x7F) {
        uint8_t packet_len = cc1101_read_reg(CC1101_RXFIFO);

        if (packet_len > 0 && packet_len <= MAX_PAYLOAD_LEN) {
            RadioPacket_t new_packet;
            uint8_t status_bytes[2];

            // Read payload and then the 2 status bytes
            cc1101_read_burst(CC1101_RXFIFO, new_packet.payload, packet_len);
            cc1101_read_burst(CC1101_RXFIFO, status_bytes, 2);

            new_packet.len = packet_len;
            new_packet.rssi = status_bytes[0];
            new_packet.lqi = status_bytes[1] & 0x7F;

            // Check CRC status bit
            if (status_bytes[1] & 0x80) {
                // --- BEGIN ACK LOGIC ---
                if (packet_len >= 4) {
                    uint8_t dest_id = new_packet.payload[1]; // The original sender's ID
                    uint8_t packet_type = new_packet.payload[2];
                    uint8_t seq_num = new_packet.payload[3];

                    // Only ACK LOG or TELEM packets
                    if (packet_type == RADIO_PACKET_TYPE_LOG || packet_type == RADIO_PACKET_TYPE_TELEM) {
                        uint8_t ack_packet[4] = {dest_id, DEVICE_ID, RADIO_PACKET_TYPE_ACK, seq_num};
                        cc1101_send_packet(ack_packet, sizeof(ack_packet));
                    }
                }
                // --- END ACK LOGIC ---

                // Store the latest valid packet from this device
                Device_Store(new_packet.payload[1], new_packet.payload, new_packet.len);

                // Send the packet to the processing task
                osMessageQueuePut(RadioPacketQueueHandle, &new_packet, 0U, 0U);
            }
        }

        // Always flush and re-enter RX mode after a read to ensure clean state
        cc1101_command_strobe(CC1101_SIDLE);
        cc1101_command_strobe(CC1101_SFRX);
        cc1101_command_strobe(CC1101_SRX);
    }

    // This task polls the radio hardware. A small delay is appropriate.
    osDelay(10);
  }
  /* USER CODE END StartCC1101Task */
}

void StartPCCommTask(void *argument)
{
  /* USER CODE BEGIN StartPCCommTask */
  /* Infinite loop */
  for(;;) {
    RadioPacket_t rx_packet;
    osStatus_t status;

    // Check for incoming PC commands (non-blocking)
    Uart_CheckCommand();

    // Wait for a new radio packet from the queue (blocking with timeout)
    status = osMessageQueueGet(RadioPacketQueueHandle, &rx_packet, NULL, 10); // Wait 10ms
    if (status == osOK) {
        // A new packet was received, format and forward it to the PC
        char line_buf[256];
        int offset = 0;

        offset += snprintf(line_buf + offset, sizeof(line_buf) - offset, "Packet: ");

        for (uint8_t i = 0; i < rx_packet.len; i++) {
            offset += snprintf(line_buf + offset, sizeof(line_buf) - offset, "%02X ", rx_packet.payload[i]);
        }

        offset += snprintf(line_buf + offset, sizeof(line_buf) - offset, "| RSSI: %d, LQI: %d, CRC OK\r\n", rx_packet.rssi, rx_packet.lqi);

        // Forward to PC via UART2. Could also be sent via W5500 here.
        HAL_UART_Transmit(&huart2, (uint8_t*)line_buf, offset, 200);
    }
  }
  /* USER CODE END StartPCCommTask */
}

void HAL_TIM_PeriodElapsedCallback(TIM_HandleTypeDef *htim)
{
  if (htim->Instance == TIM5)
  {
    HAL_IncTick();
  }
}

void Error_Handler(void)
{
  __disable_irq();
  while (1)
  {
  }
}
